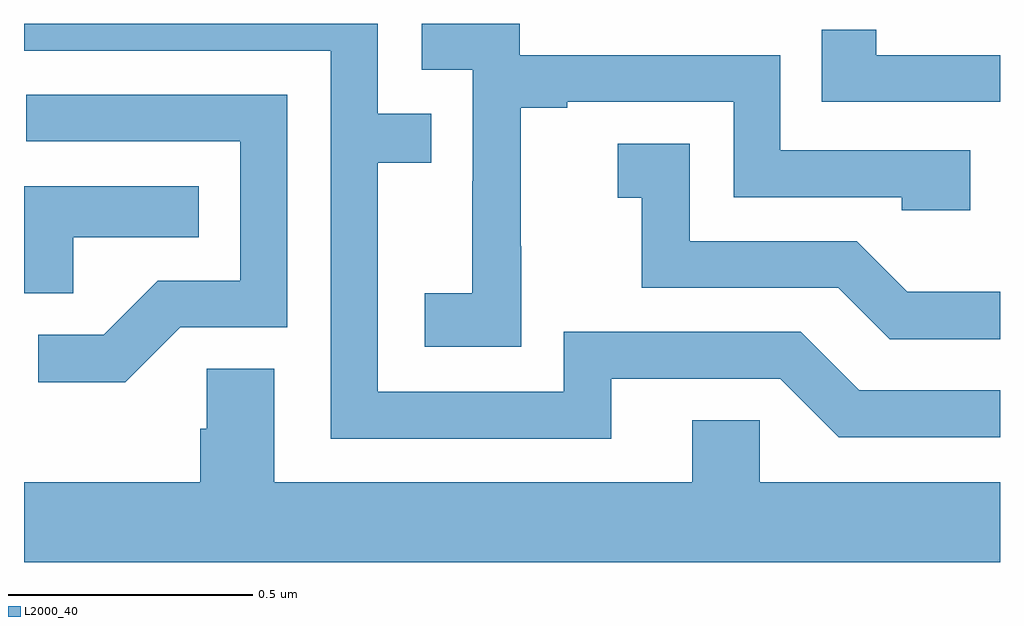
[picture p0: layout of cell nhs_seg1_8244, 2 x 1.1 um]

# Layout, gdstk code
import gdstk
lib = gdstk.Library(unit=1e-6, precision=1e-09)
def P(c, l, *ps):  # polygons
    for p in ps: c.add(gdstk.Polygon(p, *l))
L2000_40 = (2000, 40)

nhs_seg1_8244 = lib.new_cell('nhs_seg1_8244')
P(nhs_seg1_8244, L2000_40, [(215.019,521.743),(215.018,521.743),(215.018,522.027),(215.113,522.027),(215.113,522.039),(215.454,522.039),(215.454,521.844),(215.799,521.844),(215.799,521.817),(215.939,521.817),(215.939,521.94),(215.55,521.94),(215.55,522.135),(215.016,522.135),(215.016,522.199),(214.815,522.199),(214.815,522.105),(214.92,522.105),(214.92,521.876),(214.919,521.876),(214.919,521.647),(214.821,521.647),(214.821,521.537),(215.019,521.537)],
  [(215.203,521.472),(215.55,521.472),(215.67,521.352),(216,521.352),(216,521.448),(215.712,521.448),(215.592,521.568),(215.106,521.568),(215.106,521.445),(214.725,521.445),(214.725,521.914),(214.835,521.914),(214.835,522.015),(214.725,522.015),(214.725,522.199),(214,522.199),(214,522.144),(214.629,522.144),(214.629,521.349),(215.203,521.349)],
  [(216,522.135),(215.746,522.135),(215.746,522.187),(215.635,522.187),(215.635,522.039),(216,522.039)],
  [(214.32,521.577),(214.539,521.577),(214.539,522.054),(214.005,522.054),(214.005,521.958),(214.443,521.958),(214.443,521.673),(214.274,521.673),(214.163,521.562),(214.029,521.562),(214.029,521.465),(214.207,521.465)],
  [(216,521.65),(215.81,521.65),(215.706,521.754),(215.364,521.754),(215.364,521.953),(215.217,521.953),(215.217,521.843),(215.266,521.843),(215.266,521.658),(215.669,521.658),(215.774,521.553),(216,521.553)],
  [(214.101,521.762),(214.358,521.762),(214.358,521.866),(214,521.866),(214,521.647),(214.101,521.647)],
  [(216,521.26),(215.508,521.26),(215.508,521.387),(215.369,521.387),(215.369,521.26),(214.513,521.26),(214.513,521.492),(214.374,521.492),(214.374,521.369),(214.361,521.369),(214.361,521.26),(214,521.26),(214,521.096),(216,521.096)])

lib.write_gds('nhs_seg1_8244.gds')
